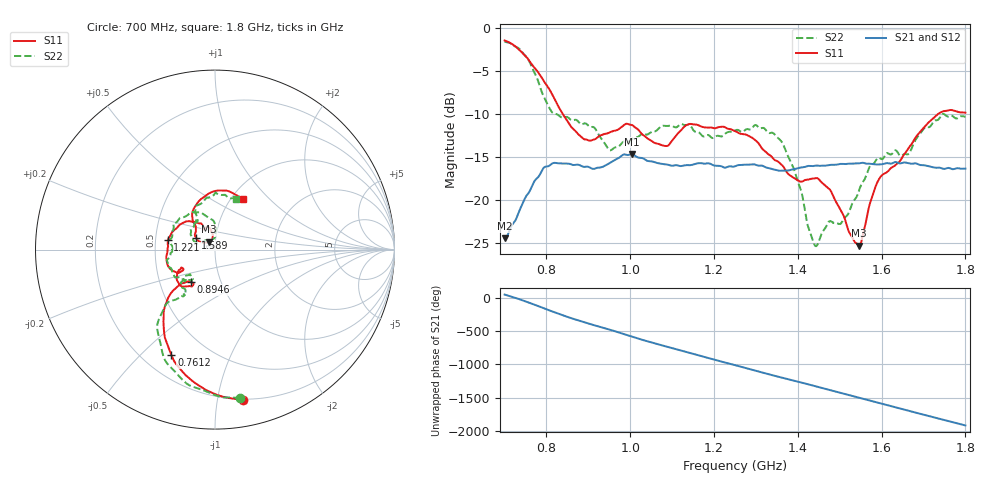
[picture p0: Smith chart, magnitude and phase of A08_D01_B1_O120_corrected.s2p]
! Created with skrf 1.9.0 (http://scikit-rf.org).
# Hz S RI R 50.0
!freq ReS11 ImS11 ReS21 ImS21 ReS12 ImS12 ReS22 ImS22
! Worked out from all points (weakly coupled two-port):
!   1601 points, 700 MHz to 1.8 GHz, reference 50 ohm
!   highest |S21| = -14.64 dB at 1.004 GHz (marker M1); lowest = -24.5 dB at 700.7 MHz (marker M2)
!   lowest |S11| = -25.3 dB at 1.546 GHz (marker M3), VSWR 1.11, Z = 46.7 + j4.06 ohm
!   |S11| at or under -10 dB: 839.2 MHz to 1.734 GHz (894.7 MHz wide, 69.5 % of centre)
!   |S22| runs from -25.4 to -1.5 dB; largest |S21 - S12| = 0.0037
!   S11 on the Smith chart (normalised r, x): 700 MHz: 0.20, -1.19; 761.2 MHz: 0.32, -0.62; 894.6 MHz: 0.72, -0.27; 1.221 GHz: 0.58, +0.07; 1.589 GHz: 0.80, +0.11; 1.8 GHz: 1.12, +0.71
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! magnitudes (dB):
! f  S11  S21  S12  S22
! 700 MHz  -1.4  -24.4  -24.2  -1.5
! 700.7 MHz  -1.4  -24.5  -24.1  -1.6
! 761.2 MHz  -3.9  -18.8  -18.7  -4.1
! 812.8 MHz  -7.6  -15.8  -15.8  -9.7
! 883.6 MHz  -12.7  -16.0  -15.9  -11.2
! 894.6 MHz  -12.9  -16.1  -16.2  -11.1
! 950.9 MHz  -12.1  -15.7  -15.7  -14.2
! 1.004 GHz  -11.3  -14.6  -14.8  -12.9
! 1.067 GHz  -13.5  -15.7  -15.6  -11.7
! 1.139 GHz  -11.2  -15.9  -15.9  -11.2
! 1.221 GHz  -11.4  -16.1  -16.2  -12.5
! 1.25 GHz  -12.0  -16.1  -16.0  -11.9
! 1.36 GHz  -15.8  -16.6  -16.6  -13.1
! 1.405 GHz  -17.8  -16.2  -16.2  -18.5
! 1.434 GHz  -17.5  -16.0  -16.0  -24.4
! 1.504 GHz  -21.3  -15.8  -15.8  -22.7
! 1.546 GHz  -25.3  -15.7  -15.7  -18.8
! 1.589 GHz  -18.0  -15.8  -15.8  -15.2
! 1.617 GHz  -16.5  -15.7  -15.7  -14.6
! 1.663 GHz  -14.0  -15.7  -15.7  -14.7
! 1.735 GHz  -10.0  -16.2  -16.3  -10.6
! 1.8 GHz  -9.8  -16.3  -16.3  -10.3
